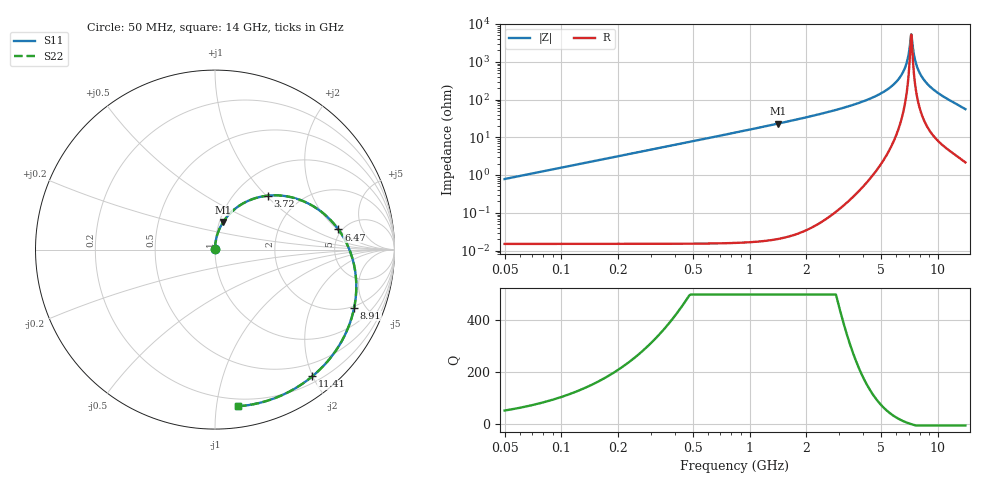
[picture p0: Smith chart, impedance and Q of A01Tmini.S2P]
! Coilcraft A01T_ Mini Spring Air Core Inductor
! 30 May 2003
# MHZ S MA R 50
!Freq  MagS11  AngS11  MagS21  AngS21  MagS12  AngS12  MagS22  AngS22
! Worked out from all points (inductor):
!   1396 points, 50 MHz to 14 GHz, reference 50 ohm
!   read as 1/Y11, port 2 shorted: L = 2.49 nH near 110 MHz
!   highest Q = 1.14e+03 at 1.42 GHz (marker M1), where L = 2.59 nH
!   self-resonance near 7.223 GHz
!   S11 on the Smith chart (normalised r, x): 50 MHz: 1.00, +0.01; 3.72 GHz: 1.40, +1.02; 6.47 GHz: 4.67, +2.03; 8.91 GHz: 1.90, -4.17; 11.41 GHz: 0.29, -1.99; 14 GHz: 0.15, -1.15
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50  0.005627 87.9  0.9998 -0.6  0.9998 -0.6  0.005628 87.9
150  0.01688 87.8  0.9997 -1.7  0.9997 -1.7  0.01688 87.8
210  0.02363 87.2  0.9996 -2.4  0.9996 -2.4  0.02363 87.2
310  0.03488 86.2  0.9992 -3.6  0.9992 -3.6  0.03489 86.2
440  0.04951 84.8  0.9986 -5.1  0.9986 -5.1  0.04953 84.8
620  0.06979 82.7  0.9974 -7.1  0.9974 -7.1  0.06981 82.7
840  0.09459 80.2  0.9954 -9.7  0.9954 -9.7  0.09462 80.2
1420  0.1602 73.5  0.9869 -16.4  0.9869 -16.4  0.1602 73.5
2380  0.2694 62.1  0.9626 -27.8  0.9626 -27.8  0.2694 62.1
3720  0.4214 45.5  0.9049 -44.2  0.9049 -44.2  0.4215 45.5
4700  0.5286 32.9  0.8442 -56.6  0.8442 -56.6  0.5287 32.9
5560  0.6156 21.5  0.7789 -67.7  0.7789 -67.7  0.6158 21.5
6470  0.6967 9.3  0.7009 -79.4  0.7009 -79.4  0.6968 9.3
7030  0.7394 1.8  0.6507 -86.5  0.6507 -86.5  0.7396 1.8
7970  0.7979 -10.6  0.5671 -98.0  0.5671 -98.0  0.7981 -10.6
8910  0.84 -22.6  0.4905 -108.9  0.4905 -108.9  0.8402 -22.6
9350  0.8547 -28.1  0.4587 -113.8  0.4587 -113.8  0.8548 -28.1
10320  0.8774 -39.8  0.4004 -124.1  0.4004 -124.1  0.8775 -39.8
11410  0.8902 -52.5  0.357 -135.3  0.357 -135.3  0.8903 -52.5
11680  0.8917 -55.6  0.3501 -138.0  0.3501 -138.0  0.8918 -55.6
12860  0.8919 -68.9  0.3381 -150.3  0.3381 -150.3  0.892 -68.9
14000  0.8824 -81.7  0.3541 -162.9  0.3541 -162.9  0.8825 -81.7
